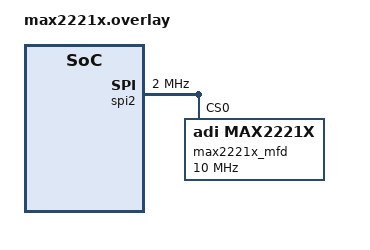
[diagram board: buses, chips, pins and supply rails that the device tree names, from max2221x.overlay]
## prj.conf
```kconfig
CONFIG_PWM=y
CONFIG_MFD_INIT_PRIORITY=80
CONFIG_PWM_INIT_PRIORITY=81
```

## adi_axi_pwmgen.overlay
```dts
/*
 * Copyright (c) 2026 Analog Devices, Inc.
 * SPDX-License-Identifier: Apache-2.0
 */

/ {
	pwmgen0: pwmgen@99999999 {
		compatible = "adi,axi-pwmgen";
		reg = <0x99999999 0x10000>;
		#pwm-cells = <3>;
		adi,ref-clock-hz = <100000000>;
	};
};
```

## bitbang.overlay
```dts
/*
 * SPDX-FileCopyrightText: Copyright (c) 2026 Siemens
 * SPDX-License-Identifier: Apache-2.0
 */

/ {
	bitbang_pwm: bitbang-pwm {
		compatible = "zephyr,pwm-bitbang";
		#pwm-cells = <3>;
		timer = <&counter0>;
		pwm-gpios = <&gpio0 0 0>,
			    <&gpio0 1 0>;
		status = "okay";
	};
};
```

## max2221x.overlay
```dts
/*
 * Copyright (c) 2025 Analog Devices Inc.
 *
 * SPDX-License-Identifier: Apache-2.0
 */

&spi2 {
	clock-frequency = <2000000>;
	status = "okay";

	max2221x_mfd: max2221x@0 {
		compatible = "adi,max2221x";
		reg = <0x0>;
		spi-max-frequency = <DT_FREQ_M(10)>;
		status = "okay";

		adi_max2221x_pwm: pwm-device {
			compatible = "adi,max2221x-pwm";
			#pwm-cells = <3>;
			status = "okay";
		};
	};
};
```

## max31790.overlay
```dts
/*
 * Copyright (c) 2023 SILA Embedded Solutions GmbH
 * SPDX-License-Identifier: Apache-2.0
 */

&arduino_i2c {
	clock-frequency = <I2C_BITRATE_FAST>;
	status = "okay";

	max31790_max31790: max31790@20 {
		compatible = "maxim,max31790";
		reg = <0x20>;
		status = "okay";

		max31790_max31790_pwm: max31790_max31790_pwm {
			compatible = "maxim,max31790-pwm";
			pwm-controller;
			#pwm-cells = <2>;
			status = "okay";
		};
	};
};
```

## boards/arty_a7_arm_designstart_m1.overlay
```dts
/*
 * Copyright (c) 2020 Henrik Brix Andersen <henrik@brixandersen.dk>
 *
 * SPDX-License-Identifier: Apache-2.0
 */

/ {
	pwm0: pwm@99999999 {
		compatible = "xlnx,xps-timer-1.00.a-pwm";
		reg = <0x99999999 0x10000>;
		interrupt-parent = <&nvic>;
		interrupts = <5 0>;
		clock-frequency = <100000000>;
		xlnx,count-width = <0x20>;
		xlnx,gen0-assert = <0x1>;
		xlnx,gen1-assert = <0x1>;
		xlnx,one-timer-only = <0x0>;
		xlnx,trig0-assert = <0x1>;
		xlnx,trig1-assert = <0x0>;
		label = "PWM_0";
		#pwm-cells = <3>;
	};
};
```

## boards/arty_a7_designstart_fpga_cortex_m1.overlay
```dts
/*
 * Copyright (c) 2020 Henrik Brix Andersen <henrik@brixandersen.dk>
 *
 * SPDX-License-Identifier: Apache-2.0
 */

/ {
	pwm0: pwm@99999999 {
		compatible = "xlnx,xps-timer-1.00.a-pwm";
		reg = <0x99999999 0x10000>;
		interrupt-parent = <&nvic>;
		interrupts = <5 0>;
		clock-frequency = <100000000>;
		#pwm-cells = <3>;
		xlnx,count-width = <0x20>;
		xlnx,gen0-assert = <0x1>;
		xlnx,gen1-assert = <0x1>;
		xlnx,one-timer-only = <0x0>;
		xlnx,trig0-assert = <0x1>;
		xlnx,trig1-assert = <0x0>;
	};
};
```

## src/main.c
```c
/*
 * Copyright (c) 2012-2014 Wind River Systems, Inc.
 *
 * SPDX-License-Identifier: Apache-2.0
 */

#include <device.h>

void main(void)
{
}

#if DT_NODE_EXISTS(DT_INST(0, vnd_gpio))
/* Fake GPIO device, needed for building drivers that use DEVICE_DT_GET()
 * to access GPIO controllers.
 */
DEVICE_DT_DEFINE(DT_INST(0, vnd_gpio), NULL, NULL, NULL, NULL,
		 POST_KERNEL, CONFIG_KERNEL_INIT_PRIORITY_DEFAULT, NULL);
#endif
```
